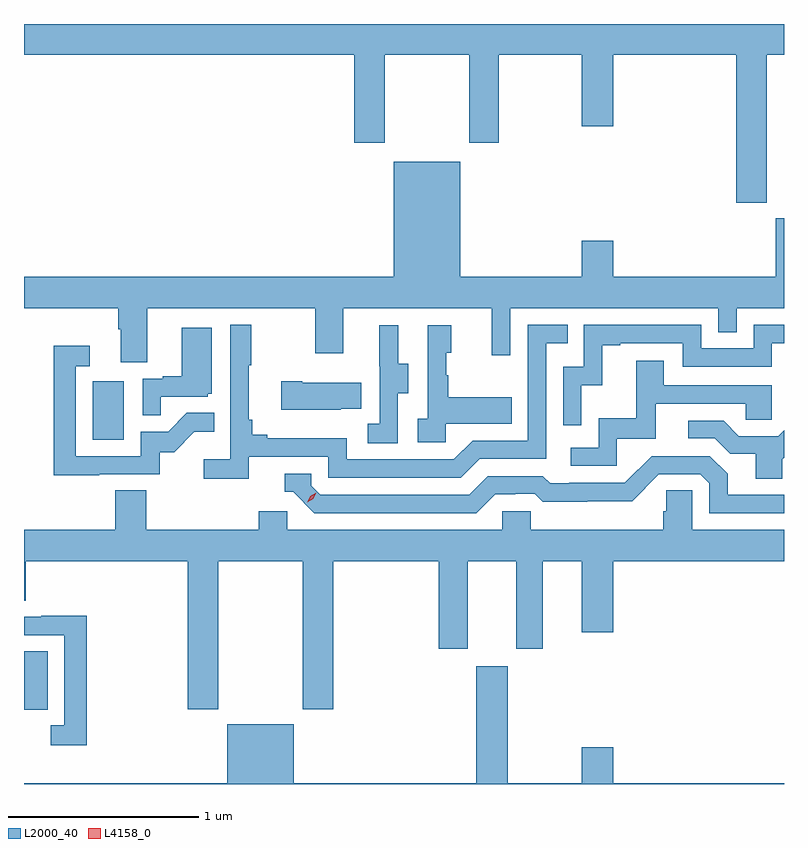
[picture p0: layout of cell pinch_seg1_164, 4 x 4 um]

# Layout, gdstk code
import gdstk
lib = gdstk.Library(unit=1e-6, precision=1e-09)
def R(c, l, rs):  # rectangles x0, y0, x1, y1
    for r in rs: c.add(gdstk.rectangle(r[:2], r[2:], *l))
def P(c, l, *ps):  # polygons
    for p in ps: c.add(gdstk.Polygon(p, *l))
L2000_40 = (2000, 40)
L4158_0 = (4158, 0)

pinch_seg1_164 = lib.new_cell('pinch_seg1_164')
R(pinch_seg1_164, L2000_40, [(1109.124,542.958,1109.248,543.265), (1109.486,544.38,1109.65,544.687)])
P(pinch_seg1_164, L2000_40, [(1109.124,546.404),(1110.863,546.404),(1110.863,545.943),(1111.023,545.943),(1111.023,546.404),(1111.468,546.404),(1111.468,545.943),(1111.623,545.943),(1111.623,546.404),(1112.06,546.404),(1112.06,546.03),(1112.224,546.03),(1112.224,546.404),(1112.873,546.404),(1112.873,545.625),(1113.033,545.625),(1113.033,546.404),(1113.124,546.404),(1113.124,546.567),(1109.124,546.567)],
  [(1109.773,545.072),(1110.658,545.072),(1110.658,544.833),(1110.805,544.833),(1110.805,545.072),(1111.586,545.072),(1111.586,544.824),(1111.683,544.824),(1111.683,545.072),(1112.778,545.072),(1112.778,544.945),(1112.874,544.945),(1112.874,545.072),(1113.124,545.072),(1113.124,545.545),(1113.08,545.545),(1113.08,545.236),(1112.224,545.236),(1112.224,545.425),(1112.06,545.425),(1112.06,545.236),(1111.42,545.236),(1111.42,545.842),(1111.07,545.842),(1111.07,545.236),(1109.124,545.236),(1109.124,545.072),(1109.621,545.072),(1109.621,544.96),(1109.633,544.96),(1109.633,544.786),(1109.773,544.786)],
  [(1110.308,544.29),(1110.726,544.29),(1110.726,544.179),(1111.423,544.179),(1111.522,544.278),(1111.872,544.278),(1111.872,544.887),(1111.985,544.887),(1111.985,544.983),(1111.776,544.983),(1111.776,544.374),(1111.485,544.374),(1111.386,544.275),(1110.822,544.275),(1110.822,544.387),(1110.403,544.387),(1110.403,544.406),(1110.326,544.406),(1110.326,544.483),(1110.307,544.483),(1110.307,544.771),(1110.319,544.771),(1110.319,544.984),(1110.21,544.984),(1110.21,544.276),(1110.069,544.276),(1110.069,544.174),(1110.308,544.174)],
  [(1112.058,544.667),(1112.168,544.667),(1112.168,544.875),(1112.263,544.875),(1112.263,544.887),(1112.592,544.887),(1112.592,544.764),(1113.06,544.764),(1113.06,544.887),(1113.124,544.887),(1113.124,544.983),(1112.964,544.983),(1112.964,544.86),(1112.688,544.86),(1112.688,544.983),(1112.07,544.983),(1112.07,544.764),(1111.962,544.764),(1111.962,544.455),(1112.058,544.455)],
  [(1111.344,544.463),(1111.691,544.463),(1111.691,544.603),(1111.357,544.603),(1111.357,544.718),(1111.347,544.718),(1111.347,544.836),(1111.372,544.836),(1111.372,544.981),(1111.248,544.981),(1111.248,544.49),(1111.197,544.49),(1111.197,544.365),(1111.344,544.365)],
  [(1111.092,544.624),(1111.147,544.624),(1111.147,544.779),(1111.093,544.779),(1111.093,544.981),(1110.995,544.981),(1110.995,544.767),(1110.996,544.767),(1110.996,544.463),(1110.933,544.463),(1110.933,544.36),(1111.092,544.36)],
  [(1109.843,544.605),(1110.09,544.605),(1110.09,544.62),(1110.112,544.62),(1110.112,544.969),(1109.954,544.969),(1109.954,544.714),(1109.855,544.714),(1109.855,544.701),(1109.748,544.701),(1109.748,544.507),(1109.843,544.507)],
  [(1109.519,544.197),(1109.838,544.197),(1109.838,544.314),(1109.914,544.314),(1110.021,544.421),(1110.125,544.421),(1110.125,544.52),(1109.981,544.52),(1109.883,544.422),(1109.739,544.422),(1109.739,544.293),(1109.397,544.293),(1109.397,544.767),(1109.47,544.767),(1109.47,544.873),(1109.281,544.873),(1109.281,544.192),(1109.519,544.192)],
  [(1112.244,544.383),(1112.449,544.383),(1112.449,544.569),(1112.923,544.569),(1112.923,544.485),(1113.06,544.485),(1113.06,544.665),(1112.491,544.665),(1112.491,544.795),(1112.347,544.795),(1112.347,544.492),(1112.148,544.492),(1112.148,544.338),(1112.001,544.338),(1112.001,544.242),(1112.244,544.242)],
  [(1110.791,544.541),(1110.899,544.541),(1110.899,544.678),(1110.589,544.678),(1110.589,544.686),(1110.477,544.686),(1110.477,544.538),(1110.791,544.538)],
  [(1113.115,544.276),(1113.124,544.285),(1113.124,544.429),(1113.093,544.398),(1112.887,544.398),(1112.806,544.479),(1112.619,544.479),(1112.619,544.386),(1112.76,544.386),(1112.84,544.306),(1112.975,544.306),(1112.975,544.174),(1113.115,544.174)],
  [(1111.603,544.092),(1111.71,544.092),(1111.71,544.095),(1111.813,544.095),(1111.855,544.053),(1112.088,544.053),(1112.088,544.055),(1112.324,544.055),(1112.466,544.197),(1112.682,544.197),(1112.73,544.149),(1112.73,543.993),(1113.124,543.993),(1113.124,544.089),(1112.827,544.089),(1112.827,544.199),(1112.733,544.293),(1112.427,544.293),(1112.286,544.152),(1111.993,544.152),(1111.993,544.149),(1111.894,544.149),(1111.855,544.188),(1111.566,544.188),(1111.467,544.089),(1110.684,544.089),(1110.636,544.137),(1110.636,544.2),(1110.497,544.2),(1110.497,544.104),(1110.54,544.104),(1110.651,543.993),(1111.504,543.993)],
  [(1110.147,543.74),(1110.592,543.74),(1110.592,542.961),(1110.752,542.961),(1110.752,543.74),(1111.307,543.74),(1111.307,543.279),(1111.459,543.279),(1111.459,543.74),(1111.715,543.74),(1111.715,543.279),(1111.855,543.279),(1111.855,543.74),(1112.06,543.74),(1112.06,543.366),(1112.224,543.366),(1112.224,543.74),(1113.124,543.74),(1113.124,543.904),(1112.64,543.904),(1112.64,544.112),(1112.503,544.112),(1112.503,544.002),(1112.489,544.002),(1112.489,543.904),(1111.791,543.904),(1111.791,544.002),(1111.641,544.002),(1111.641,543.904),(1110.51,543.904),(1110.51,544.002),(1110.359,544.002),(1110.359,543.904),(1109.768,543.904),(1109.768,544.112),(1109.603,544.112),(1109.603,543.904),(1109.124,543.904),(1109.124,543.532),(1109.132,543.532),(1109.132,543.74),(1109.987,543.74),(1109.987,542.961),(1110.147,542.961)],
  [(1109.453,543.452),(1109.215,543.452),(1109.215,543.447),(1109.124,543.447),(1109.124,543.351),(1109.337,543.351),(1109.337,542.877),(1109.265,542.877),(1109.265,542.772),(1109.453,542.772)],
  [(1113.124,542.572),(1112.224,542.572),(1112.224,542.761),(1112.06,542.761),(1112.06,542.572),(1111.669,542.572),(1111.669,543.187),(1111.505,543.187),(1111.505,542.572),(1110.544,542.572),(1110.544,542.881),(1110.194,542.881),(1110.194,542.572),(1109.124,542.572),(1109.124,542.567),(1113.124,542.567)])
P(pinch_seg1_164, L4158_0, [(1110.615,544.049),(1110.615,544.049),(1110.631,544.082),(1110.661,544.101),(1110.662,544.101),(1110.662,544.101),(1110.646,544.069),(1110.616,544.049)])

lib.write_gds('pinch_seg1_164.gds')
